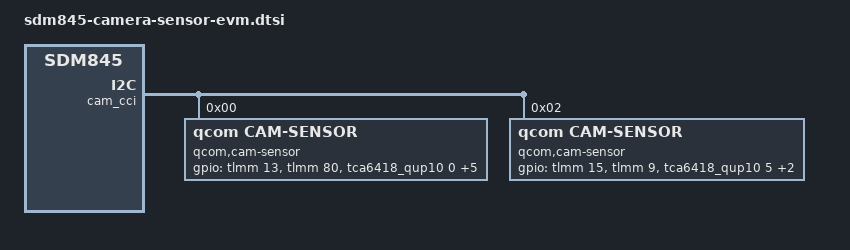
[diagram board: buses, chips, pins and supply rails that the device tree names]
/*
 * Copyright (c) 2017, The Linux Foundation. All rights reserved.
 *
 * This program is free software; you can redistribute it and/or modify
 * it under the terms of the GNU General Public License version 2 and
 * only version 2 as published by the Free Software Foundation.
 *
 * This program is distributed in the hope that it will be useful,
 * but WITHOUT ANY WARRANTY; without even the implied warranty of
 * MERCHANTABILITY or FITNESS FOR A PARTICULAR PURPOSE.  See the
 * GNU General Public License for more details.
 */

&soc {
	pinctrl@03400000 {
		cci0_active {
			mux {
				/* CLK, DATA */
				pins = "gpio17","gpio18"; // Only 2
				function = "cci_i2c";
			};

			config {
				pins = "gpio17","gpio18";
				bias-pull-up; /* PULL UP*/
				drive-strength = <8>; /* 2 MA */
			};
		};

		cci0_suspend {
			mux {
				/* CLK, DATA */
				pins = "gpio17","gpio18";
				function = "gpio";
			};

			config {
				pins = "gpio17","gpio18";
				bias-pull-down; /* PULL DOWN */
				drive-strength = <8>; /* 2 MA */
				output-low; /*HTC ADD*/
			};
		};

		cci1_active {
			mux {
				/* CLK, DATA */
				pins = "gpio19","gpio20";
				function = "cci_i2c";
			};

			config {
				pins = "gpio19","gpio20";
				bias-pull-up; /* PULL UP*/
				drive-strength = <8>; /* 2 MA */
			};
		};

		cci1_suspend {
			mux {
				/* CLK, DATA */
				pins = "gpio19","gpio20";
				function = "gpio";
			};

			config {
				pins = "gpio19","gpio20";
				bias-pull-down; /* PULL DOWN */
				drive-strength = <8>; /* 2 MA */
				output-low; /*HTC ADD*/
			};
		};

		cam_sensor_rear_active {
			/* RESET, STANDBY */
			mux {
				pins = "gpio80";	/*HTC modify */
				function = "gpio";
			};

			config {
				pins = "gpio80";	/*HTC modify */
				bias-disable; /* No PULL */
				drive-strength = <2>; /* 2 MA */
				output-high;		/*HTC ADD*/
			};
		};

		cam_sensor_rear_suspend{
			/* RESET, STANDBY */
			mux {
				pins = "gpio80";	/*HTC modify */
				function = "gpio";
			};

			config {
				pins = "gpio80";	/*HTC modify */
				bias-disable; /* No PULL */
				drive-strength = <2>; /* 2 MA */
				output-low;			/*HTC ADD*/
			};
		};

		cam_sensor_front_active {
			/* RESET, STANDBY */
			mux {
				pins = "gpio9";
				function = "gpio";
			};

			config {
				pins = "gpio9";
				bias-disable; /* No PULL */
				drive-strength = <2>; /* 2 MA */
				output-high;		/*HTC ADD*/
			};
		};

		cam_sensor_front_suspend {
			/* RESET, STANDBY */
			mux {
				pins = "gpio9";
				function = "gpio";
			};
			config {
				pins = "gpio9";
				bias-disable; /* No PULL */
				drive-strength = <2>; /* 2 MA */
				output-low;			/*HTC ADD*/
			};
		};

		cam_sensor_mclk0_active {
			/* MCLK0 */
			mux {
				/* CLK, DATA */
				pins = "gpio13";
				function = "cam_mclk";
			};

			config {
				pins = "gpio13";
				bias-disable; /* No PULL */
				drive-strength = <8>; /* 2 MA */
			};
		};

		cam_sensor_mclk0_suspend {
			/* MCLK0 */
			mux {
				/* CLK, DATA */
				pins = "gpio13";
				function = "gpio";
			};

			config {
				pins = "gpio13";
				bias-pull-down; /* PULL DOWN */
				drive-strength = <8>; /* 2 MA */
				output-low; /*HTC ADD*/
			};
		};

		cam_sensor_mclk1_active {
			/* MCLK2 */
			mux {
				/* CLK, DATA */
				pins = "gpio15";
				function = "cam_mclk";
			};

			config {
				pins = "gpio15";
				bias-disable; /* No PULL */
				drive-strength = <8>; /* 2 MA */
			};
		};

		cam_sensor_mclk1_suspend {
			/* MCLK2 */
			mux {
				/* CLK, DATA */
				pins = "gpio15";
				function = "gpio";
			};

			config {
				pins = "gpio15";
				bias-pull-down; /* PULL DOWN */
				drive-strength = <8>; /* 2 MA */
				output-low; /*HTC ADD*/
			};
		};
	};
};

&cam_cci {
	qcom,cam-sensor@0 {
		cell-index = <0>;
		compatible = "qcom,cam-sensor";
		reg = <0x0>;
		csiphy-sd-index = <0>;
		sensor-position-roll = <90>;
		sensor-position-pitch = <0>;
		sensor-position-yaw = <180>;
		gpio-no-mux = <0>;
		pinctrl-names = "cam_default", "cam_suspend";
		pinctrl-0 = <&cam_sensor_mclk0_active
				 &cam_sensor_rear_active>;
		pinctrl-1 = <&cam_sensor_mclk0_suspend
				 &cam_sensor_rear_suspend>;
		gpios = <&tlmm 13 0>,
			<&tlmm 80 0>,
			<&tca6418_qup10 0 0>,
			<&tca6418_qup10 2 0>,
			<&tca6418_qup10 4 0>,
			<&tca6418_qup10 1 0>,
			<&tca6418_qup10 3 0>,
			<&tca6418_qup10 8 0>;
		gpio-reset = <1>;
		gpio-vdig = <2>;
		gpio-vana = <3>;
		gpio-vaf = <4>;
		gpio-custom1 = <5>;
		gpio-custom2 = <6>;
		gpio-vio = <7>;
		gpio-req-tbl-num = <0 1 2 3 4 5 6 7>;
		gpio-req-tbl-flags = <1 0 0 0 0 0 0 0>;
		gpio-req-tbl-label = "CAMIF_MCLK0",
					"CAM0_RESET0",
					"CAM0_VDIG",
					"CAM0_VANA",
					"CAM0_VAF",
					"CAM0_A1V8",
					"CAM0_DRV",
					"CAM0_VIO";
		sensor-mode = <0>;
		cci-master = <0>;
		status = "ok";
		clocks = <&clock_camcc CAM_CC_MCLK0_CLK>;
		clock-names = "cam_clk";
		clock-cntl-level = "turbo";
		clock-rates = <24000000>;
	};

	qcom,cam-sensor@2 {
		cell-index = <2>;
		compatible = "qcom,cam-sensor";
		reg = <0x02>;
		csiphy-sd-index = <2>;
		sensor-position-roll = <270>;
		sensor-position-pitch = <0>;
		sensor-position-yaw = <0>;
		gpio-no-mux = <0>;
		pinctrl-names = "cam_default", "cam_suspend";
		pinctrl-0 = <&cam_sensor_mclk1_active
				 &cam_sensor_front_active>;
		pinctrl-1 = <&cam_sensor_mclk1_suspend
				 &cam_sensor_front_suspend>;
		gpios = <&tlmm 15 0>,
			<&tlmm 9 0>,
			<&tca6418_qup10 5 0>,
			<&tca6418_qup10 7 0>,
			<&tca6418_qup10 8 0>;
		gpio-reset = <1>;
		gpio-vdig = <2>;
		gpio-vana = <3>;
		gpio-vio = <4>;
		gpio-req-tbl-num = <0 1 2 3 4>;
		gpio-req-tbl-flags = <1 0 0 0 0>;
		gpio-req-tbl-label = "CAMIF_MCLK2",
					"CAM_RESET2",
					"CAM2_VDIG",
					"CAM2_VANA",
					"CAM2_VIO";
		sensor-mode = <0>;
		cci-master = <1>;
		status = "ok";
		clocks = <&clock_camcc CAM_CC_MCLK2_CLK>;
		clock-names = "cam_clk";
		clock-cntl-level = "turbo";
		clock-rates = <24000000>;
	};
};
